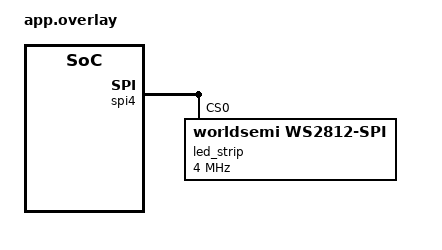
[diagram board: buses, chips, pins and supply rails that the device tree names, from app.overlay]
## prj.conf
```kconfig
#
# Copyright (c) 2020 Nordic Semiconductor
#
# SPDX-License-Identifier: LicenseRef-Nordic-5-Clause
#

# Enable OpenThread
CONFIG_OPENTHREAD=y

# nRF board library
CONFIG_DK_LIBRARY=y

# Enable OpenThread CoAP support API
CONFIG_OPENTHREAD_COAP=y

# Network shell
CONFIG_SHELL=y
CONFIG_OPENTHREAD_SHELL=y
CONFIG_SHELL_ARGC_MAX=26
CONFIG_SHELL_CMD_BUFF_SIZE=416

# Increase Settings storage size
CONFIG_PM_PARTITION_SIZE_SETTINGS_STORAGE=0x8000

# Same network Master Key for client and server
CONFIG_OPENTHREAD_NETWORKKEY="00:11:22:33:44:55:66:77:88:99:aa:bb:cc:dd:ee:ff"

CONFIG_MBEDTLS_SHA1_C=n
CONFIG_FPU=y

# Increase main stack size to meet networking requirements
CONFIG_MAIN_STACK_SIZE=4096

# Enable logging
CONFIG_LOG=y
CONFIG_LOG_MODE_IMMEDIATE=y
CONFIG_LOG_DEFAULT_LEVEL=3

# WS2812 LED Strip settings
CONFIG_SPI=y
CONFIG_LED_STRIP=y
CONFIG_WS2812_STRIP_SPI=y
```

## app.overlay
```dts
#include <zephyr/dt-bindings/led/led.h>

&spi4 {
	led_strip: ws2812@0 {
		compatible = "worldsemi,ws2812-spi";
		reg = <0>;
		spi-max-frequency = <4000000>;
		chain-length = <25>;
		spi-one-frame = <0x70>;
		spi-zero-frame = <0x40>;
		color-mapping = <LED_COLOR_ID_GREEN
				 LED_COLOR_ID_RED
				 LED_COLOR_ID_BLUE>;
	};
};

/ {
	aliases {
		led-strip = &led_strip;
	};
};
```

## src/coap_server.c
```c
/*
 * Copyright (c) 2020 Nordic Semiconductor ASA
 *
 * SPDX-License-Identifier: LicenseRef-Nordic-5-Clause
 */

#include <zephyr/kernel.h>
#include <dk_buttons_and_leds.h>
#include <zephyr/logging/log.h>
#include <zephyr/net/openthread.h>
#include <openthread/thread.h>
#include <zephyr/device.h>
#include <zephyr/drivers/led_strip.h>
#include <stdlib.h>
#include <string.h>

#include "ot_coap_utils.h"

LOG_MODULE_REGISTER(coap_server, CONFIG_COAP_SERVER_LOG_LEVEL);

#define STRIP_NODE DT_ALIAS(led_strip)
#if DT_NODE_HAS_STATUS_OKAY(STRIP_NODE)
#define STRIP_NUM_PIXELS DT_PROP(STRIP_NODE, chain_length)
#define HAS_LED_STRIP 1
static const struct device *const strip = DEVICE_DT_GET(STRIP_NODE);
static struct led_rgb pixels[STRIP_NUM_PIXELS];
#else
#define HAS_LED_STRIP 0
#endif

#if defined(CONFIG_BOARD_NRF7002DK_NRF5340_CPUAPP) || defined(CONFIG_BOARD_NRF7002DK_NRF5340_CPUAPP_NS)
#define OT_CONNECTION_LED DK_LED1
#define PROVISIONING_LED DK_LED2
#define LIGHT_LED DK_LED2
#define PAIRING_BUTTON DK_BTN2_MSK
#else
#define OT_CONNECTION_LED DK_LED1
#define PROVISIONING_LED DK_LED3
#define LIGHT_LED DK_LED4
#define PAIRING_BUTTON DK_BTN4_MSK
#endif

#define COAP_SERVER_WORKQ_STACK_SIZE 2048
#define COAP_SERVER_WORKQ_PRIORITY 5

K_THREAD_STACK_DEFINE(coap_server_workq_stack_area, COAP_SERVER_WORKQ_STACK_SIZE);
static struct k_work_q coap_server_workq;

static struct k_work provisioning_work;

static struct k_timer led_timer;
static struct k_timer provisioning_timer;

static void on_light_request(uint8_t command)
{
	static uint8_t val;

	switch (command) {
	case THREAD_COAP_UTILS_LIGHT_CMD_ON:
		dk_set_led_on(LIGHT_LED);
		val = 1;
		break;

	case THREAD_COAP_UTILS_LIGHT_CMD_OFF:
		dk_set_led_off(LIGHT_LED);
		val = 0;
		break;

	case THREAD_COAP_UTILS_LIGHT_CMD_TOGGLE:
		val = !val;
		dk_set_led(LIGHT_LED, val);
		break;

	default:
		break;
	}
}

static void activate_provisioning(struct k_work *item)
{
	ARG_UNUSED(item);

	ot_coap_activate_provisioning();

	k_timer_start(&led_timer, K_MSEC(100), K_MSEC(100));
	k_timer_start(&provisioning_timer, K_SECONDS(5), K_NO_WAIT);

	LOG_INF("Provisioning activated");
}

static void deactivate_provisionig(void)
{
	k_timer_stop(&led_timer);
	k_timer_stop(&provisioning_timer);

	if (ot_coap_is_provisioning_active()) {
		ot_coap_deactivate_provisioning();
		LOG_INF("Provisioning deactivated");
	}
}

static void on_provisioning_timer_expiry(struct k_timer *timer_id)
{
	ARG_UNUSED(timer_id);

	deactivate_provisionig();
}

static void on_led_timer_expiry(struct k_timer *timer_id)
{
	static uint8_t val = 1;

	ARG_UNUSED(timer_id);

	dk_set_led(PROVISIONING_LED, val);
	val = !val;
}

static void on_led_timer_stop(struct k_timer *timer_id)
{
	ARG_UNUSED(timer_id);

	dk_set_led_off(PROVISIONING_LED);
}

static void on_button_changed(uint32_t button_state, uint32_t has_changed)
{
	uint32_t buttons = button_state & has_changed;

	if (buttons & PAIRING_BUTTON) {
		k_work_submit_to_queue(&coap_server_workq, &provisioning_work);
	}
}

static void set_all_pixels(uint8_t r, uint8_t g, uint8_t b)
{
#if HAS_LED_STRIP
        for (int i = 0; i < STRIP_NUM_PIXELS; i++) {
                pixels[i].r = r;
                pixels[i].g = g;
                pixels[i].b = b;
        }
        led_strip_update_rgb(strip, pixels, STRIP_NUM_PIXELS);
#endif
}

static void update_traffic_light(int distance_mm)
{
        if (distance_mm < 100) {
                /* Red */
                set_all_pixels(100, 0, 0);
        } else if (distance_mm < 500) {
                /* Yellow */
                set_all_pixels(100, 100, 0);
        } else {
                /* Green */
                set_all_pixels(0, 100, 0);
        }
}

static void on_distance_request(const char *payload, uint16_t len)
{
        LOG_INF("Distance updated: %.*s", len, payload);
        
        char buf[16];
        uint16_t copy_len = len < sizeof(buf) - 1 ? len : sizeof(buf) - 1;
        memcpy(buf, payload, copy_len);
        buf[copy_len] = '\0';
        
        int distance = atoi(buf);
        update_traffic_light(distance);
}
static void on_thread_state_changed(otChangedFlags flags, void *user_data)
{
	if (flags & OT_CHANGED_THREAD_ROLE) {
		switch (otThreadGetDeviceRole(openthread_get_default_instance())) {
		case OT_DEVICE_ROLE_CHILD:
		case OT_DEVICE_ROLE_ROUTER:
		case OT_DEVICE_ROLE_LEADER:
			dk_set_led_on(OT_CONNECTION_LED);
			break;

		case OT_DEVICE_ROLE_DISABLED:
		case OT_DEVICE_ROLE_DETACHED:
		default:
			dk_set_led_off(OT_CONNECTION_LED);
			deactivate_provisionig();
			break;
		}
	}
}

static struct openthread_state_changed_callback ot_state_chaged_cb = {
	.otCallback = on_thread_state_changed};

int main(void)
{
	int ret;

	LOG_INF("Start CoAP-server sample");

	k_timer_init(&led_timer, on_led_timer_expiry, on_led_timer_stop);
	k_timer_init(&provisioning_timer, on_provisioning_timer_expiry, NULL);

	k_work_queue_init(&coap_server_workq);
	k_work_queue_start(&coap_server_workq, coap_server_workq_stack_area,
					K_THREAD_STACK_SIZEOF(coap_server_workq_stack_area),
					COAP_SERVER_WORKQ_PRIORITY, NULL);
	k_work_init(&provisioning_work, activate_provisioning);

	ret = ot_coap_init(&deactivate_provisionig, &on_light_request, &on_distance_request);
	if (ret) {
		LOG_ERR("Could not initialize OpenThread CoAP");
		goto end;
	}

	        ret = dk_leds_init();
	        if (ret) {
	                LOG_ERR("Could not initialize leds, err code: %d", ret);
	                goto end;
	        }
	
	#if HAS_LED_STRIP
	        if (device_is_ready(strip)) {
	                LOG_INF("Found LED strip device %s", strip->name);
	                set_all_pixels(0, 0, 0);
	        } else {
	                LOG_ERR("LED strip device %s is not ready", strip->name);
	        }
	#endif
	ret = dk_buttons_init(on_button_changed);
	if (ret) {
		LOG_ERR("Cannot init buttons (error: %d)", ret);
		goto end;
	}

	openthread_state_changed_callback_register(&ot_state_chaged_cb);
	openthread_run();

end:
	return 0;
}
```

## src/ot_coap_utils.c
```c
/*
 * Copyright (c) 2020 Nordic Semiconductor ASA
 *
 * SPDX-License-Identifier: LicenseRef-Nordic-5-Clause
 */

#include <zephyr/logging/log.h>
#include <zephyr/net/net_pkt.h>
#include <zephyr/net/net_l2.h>
#include <zephyr/net/openthread.h>
#include <openthread/coap.h>
#include <openthread/ip6.h>
#include <openthread/message.h>
#include <openthread/thread.h>

#include "ot_coap_utils.h"

LOG_MODULE_REGISTER(ot_coap_utils, CONFIG_OT_COAP_UTILS_LOG_LEVEL);

struct server_context {
	struct otInstance *ot;
	bool provisioning_enabled;
	light_request_callback_t on_light_request;
	distance_request_callback_t on_distance_request;
	provisioning_request_callback_t on_provisioning_request;
};

static struct server_context srv_context = {
	.ot = NULL,
	.provisioning_enabled = false,
	.on_light_request = NULL,
	.on_distance_request = NULL,
	.on_provisioning_request = NULL,
};

/**@brief Definition of CoAP resources for provisioning. */
static otCoapResource provisioning_resource = {
	.mUriPath = PROVISIONING_URI_PATH,
	.mHandler = NULL,
	.mContext = NULL,
	.mNext = NULL,
};

/**@brief Definition of CoAP resources for light. */
static otCoapResource light_resource = {
	.mUriPath = LIGHT_URI_PATH,
	.mHandler = NULL,
	.mContext = NULL,
	.mNext = NULL,
};

/**@brief Definition of CoAP resources for distance. */
static otCoapResource distance_resource = {
	.mUriPath = "distance",
	.mHandler = NULL,
	.mContext = NULL,
	.mNext = NULL,
};

static otError provisioning_response_send(otMessage *request_message,
					  const otMessageInfo *message_info)
{
	otError error = OT_ERROR_NO_BUFS;
	otMessage *response;
	const void *payload;
	uint16_t payload_size;

	response = otCoapNewMessage(srv_context.ot, NULL);
	if (response == NULL) {
		goto end;
	}

	otCoapMessageInit(response, OT_COAP_TYPE_NON_CONFIRMABLE,
			  OT_COAP_CODE_CONTENT);

	error = otCoapMessageSetToken(
		response, otCoapMessageGetToken(request_message),
		otCoapMessageGetTokenLength(request_message));
	if (error != OT_ERROR_NONE) {
		goto end;
	}

	error = otCoapMessageSetPayloadMarker(response);
	if (error != OT_ERROR_NONE) {
		goto end;
	}

	payload = otThreadGetMeshLocalEid(srv_context.ot);
	payload_size = sizeof(otIp6Address);

	error = otMessageAppend(response, payload, payload_size);
	if (error != OT_ERROR_NONE) {
		goto end;
	}

	error = otCoapSendResponse(srv_context.ot, response, message_info);

	LOG_HEXDUMP_INF(payload, payload_size, "Sent provisioning response:");

end:
	if (error != OT_ERROR_NONE && response != NULL) {
		otMessageFree(response);
	}

	return error;
}

static void provisioning_request_handler(void *context, otMessage *message,
					 const otMessageInfo *message_info)
{
	otError error;
	otMessageInfo msg_info;

	ARG_UNUSED(context);

	if (!srv_context.provisioning_enabled) {
		LOG_WRN("Received provisioning request but provisioning "
			"is disabled");
		return;
	}

	LOG_INF("Received provisioning request");

	if ((otCoapMessageGetType(message) == OT_COAP_TYPE_NON_CONFIRMABLE) &&
	    (otCoapMessageGetCode(message) == OT_COAP_CODE_GET)) {
		msg_info = *message_info;
		memset(&msg_info.mSockAddr, 0, sizeof(msg_info.mSockAddr));

		error = provisioning_response_send(message, &msg_info);
		if (error == OT_ERROR_NONE) {
			srv_context.on_provisioning_request();
			srv_context.provisioning_enabled = false;
		}
	}
}

static void light_request_handler(void *context, otMessage *message,
				  const otMessageInfo *message_info)
{
	uint8_t command;

	ARG_UNUSED(context);

	if (otCoapMessageGetType(message) != OT_COAP_TYPE_NON_CONFIRMABLE) {
		LOG_ERR("Light handler - Unexpected type of message");
		goto end;
	}

	if (otCoapMessageGetCode(message) != OT_COAP_CODE_PUT) {
		LOG_ERR("Light handler - Unexpected CoAP code");
		goto end;
	}

	if (otMessageRead(message, otMessageGetOffset(message), &command, 1) !=
	    1) {
		LOG_ERR("Light handler - Missing light command");
		goto end;
	}

	LOG_INF("Received light request: %c", command);

	srv_context.on_light_request(command);

end:
	return;
}

static void distance_request_handler(void *context, otMessage *message,
				  const otMessageInfo *message_info)
{
	char payload[32];
	uint16_t length;

	ARG_UNUSED(context);

	if (otCoapMessageGetType(message) != OT_COAP_TYPE_NON_CONFIRMABLE) {
		LOG_ERR("Distance handler - Unexpected type of message");
		return;
	}

	if (otCoapMessageGetCode(message) != OT_COAP_CODE_PUT) {
		LOG_ERR("Distance handler - Unexpected CoAP code");
		return;
	}

	length = otMessageRead(message, otMessageGetOffset(message), payload, sizeof(payload) - 1);
	payload[length] = '\0';

	LOG_INF("Received distance request: %s", payload);

	if (srv_context.on_distance_request) {
		srv_context.on_distance_request(payload, length);
	}
}

static void coap_default_handler(void *context, otMessage *message,
				 const otMessageInfo *message_info)
{
	ARG_UNUSED(context);
	ARG_UNUSED(message);
	ARG_UNUSED(message_info);

	LOG_INF("Received CoAP message that does not match any request "
		"or resource");
}

void ot_coap_activate_provisioning(void)
{
	srv_context.provisioning_enabled = true;
}

void ot_coap_deactivate_provisioning(void)
{
	srv_context.provisioning_enabled = false;
}

bool ot_coap_is_provisioning_active(void)
{
	return srv_context.provisioning_enabled;
}

int ot_coap_init(provisioning_request_callback_t on_provisioning_request,
		 light_request_callback_t on_light_request,
		 distance_request_callback_t on_distance_request)
{
	otError error;

	srv_context.provisioning_enabled = false;
	srv_context.on_provisioning_request = on_provisioning_request;
	srv_context.on_light_request = on_light_request;
	srv_context.on_distance_request = on_distance_request;

	srv_context.ot = openthread_get_default_instance();
	if (!srv_context.ot) {
		LOG_ERR("There is no valid OpenThread instance");
		error = OT_ERROR_FAILED;
		goto end;
	}

	provisioning_resource.mContext = srv_context.ot;
	provisioning_resource.mHandler = provisioning_request_handler;

	light_resource.mContext = srv_context.ot;
	light_resource.mHandler = light_request_handler;

	distance_resource.mContext = srv_context.ot;
	distance_resource.mHandler = distance_request_handler;

	otCoapSetDefaultHandler(srv_context.ot, coap_default_handler, NULL);
	otCoapAddResource(srv_context.ot, &light_resource);
	otCoapAddResource(srv_context.ot, &provisioning_resource);
	otCoapAddResource(srv_context.ot, &distance_resource);

	error = otCoapStart(srv_context.ot, COAP_PORT);
	if (error != OT_ERROR_NONE) {
		LOG_ERR("Failed to start OT CoAP. Error: %d", error);
		goto end;
	}

end:
	return error == OT_ERROR_NONE ? 0 : 1;
}
```

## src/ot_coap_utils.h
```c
/*
 * Copyright (c) 2020 Nordic Semiconductor ASA
 *
 * SPDX-License-Identifier: LicenseRef-Nordic-5-Clause
 */

#ifndef __OT_COAP_UTILS_H__
#define __OT_COAP_UTILS_H__

#include <coap_server_client_interface.h>

/**@brief Type definition of the function used to handle light resource change.
 */
typedef void (*light_request_callback_t)(uint8_t cmd);
typedef void (*distance_request_callback_t)(const char *payload, uint16_t len);
typedef void (*provisioning_request_callback_t)();

int ot_coap_init(provisioning_request_callback_t on_provisioning_request,
		 light_request_callback_t on_light_request,
		 distance_request_callback_t on_distance_request);

void ot_coap_activate_provisioning(void);

void ot_coap_deactivate_provisioning(void);

bool ot_coap_is_provisioning_active(void);

#endif
```
